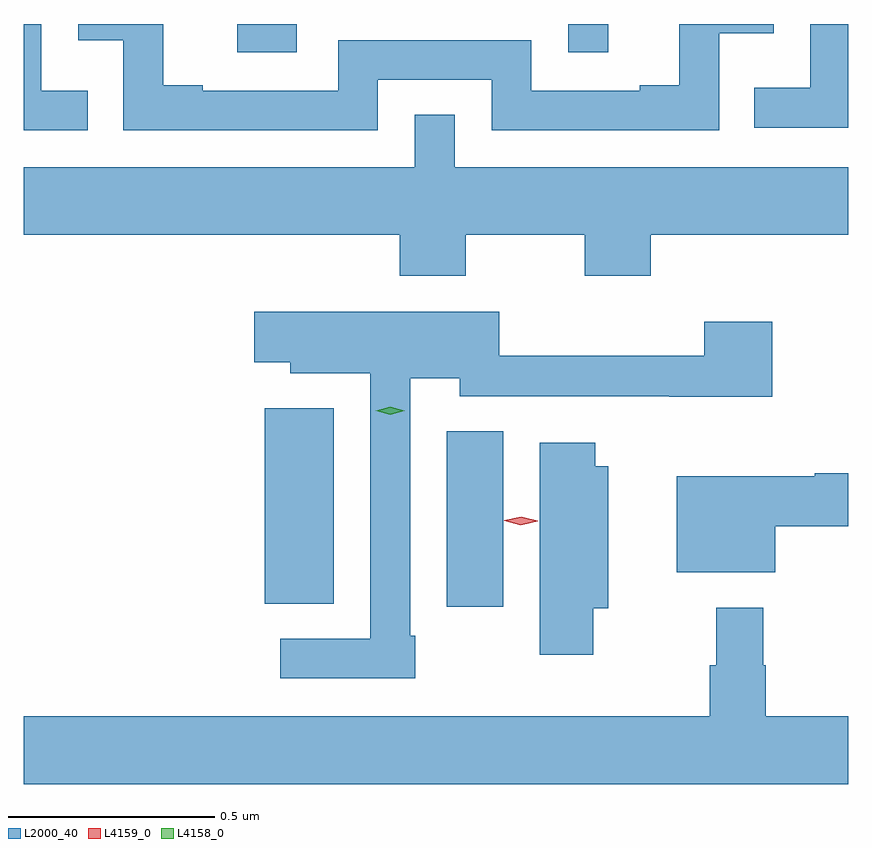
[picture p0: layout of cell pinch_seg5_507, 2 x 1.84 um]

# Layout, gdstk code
import gdstk
lib = gdstk.Library(unit=1e-6, precision=1e-09)
def R(c, l, rs):  # rectangles x0, y0, x1, y1
    for r in rs: c.add(gdstk.rectangle(r[:2], r[2:], *l))
def P(c, l, *ps):  # polygons
    for p in ps: c.add(gdstk.Polygon(p, *l))
L2000_40 = (2000, 40)
L4158_0 = (4158, 0)
L4159_0 = (4159, 0)

pinch_seg5_507 = lib.new_cell('pinch_seg5_507')
R(pinch_seg5_507, L2000_40, [(904.619,839.874,904.756,840.299), (904.178,839.881,904.345,840.355), (904.111,841.218,904.255,841.287), (904.914,841.218,905.011,841.287)])
P(pinch_seg5_507, L2000_40, [(904.452,841.152),(904.728,841.152),(904.728,841.029),(905.28,841.029),(905.28,841.265),(905.412,841.265),(905.412,841.287),(905.183,841.287),(905.183,841.138),(905.087,841.138),(905.087,841.125),(904.824,841.125),(904.824,841.248),(904.356,841.248),(904.356,841.125),(904.027,841.125),(904.027,841.138),(903.932,841.138),(903.932,841.287),(903.726,841.287),(903.726,841.248),(903.834,841.248),(903.834,841.029),(904.452,841.029)],
  [(905.593,841.287),(905.5,841.287),(905.5,841.132),(905.365,841.132),(905.365,841.035),(905.593,841.035)],
  [(903.749,841.125),(903.636,841.125),(903.636,841.287),(903.593,841.287),(903.593,841.029),(903.749,841.029)],
  [(904.665,840.776),(904.954,840.776),(904.954,840.677),(905.114,840.677),(905.114,840.776),(905.593,840.776),(905.593,840.94),(904.638,840.94),(904.638,841.067),(904.542,841.067),(904.542,840.94),(903.593,840.94),(903.593,840.776),(904.505,840.776),(904.505,840.677),(904.665,840.677)],
  [(904.543,839.803),(904.53,839.803),(904.53,840.428),(904.65,840.428),(904.65,840.384),(905.159,840.384),(905.159,840.383),(905.408,840.383),(905.408,840.565),(905.243,840.565),(905.243,840.482),(904.746,840.482),(904.746,840.589),(904.152,840.589),(904.152,840.467),(904.239,840.467),(904.239,840.44),(904.434,840.44),(904.434,839.796),(904.215,839.796),(904.215,839.7),(904.543,839.7)],
  [(904.974,839.87),(905.011,839.87),(905.011,840.214),(904.979,840.214),(904.979,840.271),(904.844,840.271),(904.844,839.757),(904.974,839.757)],
  [(905.416,840.069),(905.593,840.069),(905.593,840.197),(905.512,840.197),(905.512,840.19),(905.177,840.19),(905.177,839.957),(905.416,839.957)],
  [(905.593,839.608),(905.393,839.608),(905.393,839.732),(905.386,839.732),(905.386,839.872),(905.272,839.872),(905.272,839.732),(905.257,839.732),(905.257,839.608),(903.593,839.608),(903.593,839.444),(905.593,839.444)])
P(pinch_seg5_507, L4158_0, [(904.482,840.339),(904.447,840.349),(904.447,840.349),(904.447,840.349),(904.482,840.359),(904.517,840.349),(904.517,840.349),(904.517,840.349)])
P(pinch_seg5_507, L4159_0, [(904.799,840.072),(904.758,840.082),(904.758,840.083),(904.758,840.083),(904.8,840.092),(904.84,840.082),(904.84,840.082),(904.84,840.081)])

lib.write_gds('pinch_seg5_507.gds')
